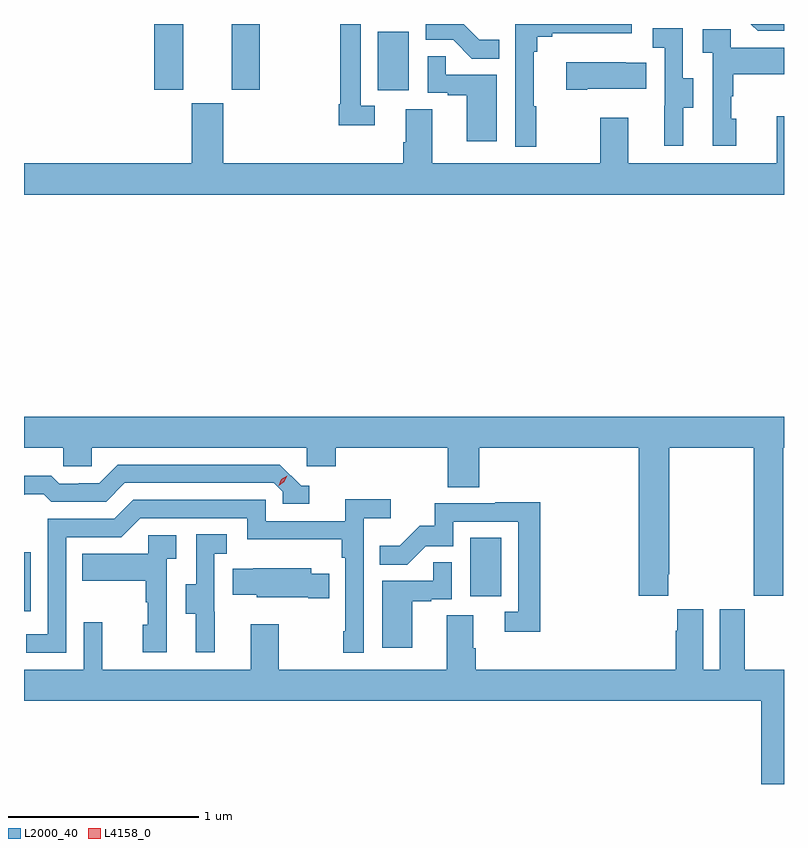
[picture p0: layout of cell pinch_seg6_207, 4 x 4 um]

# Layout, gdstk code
import gdstk
lib = gdstk.Library(unit=1e-6, precision=1e-09)
def R(c, l, rs):  # rectangles x0, y0, x1, y1
    for r in rs: c.add(gdstk.rectangle(r[:2], r[2:], *l))
def P(c, l, *ps):  # polygons
    for p in ps: c.add(gdstk.Polygon(p, *l))
L2000_40 = (2000, 40)
L4158_0 = (4158, 0)

pinch_seg6_207 = lib.new_cell('pinch_seg6_207')
R(pinch_seg6_207, L2000_40, [(1023.708,918.504,1023.744,918.814), (1026.056,918.582,1026.22,918.889), (1025.57,921.246,1025.734,921.553), (1024.394,921.249,1024.546,921.594), (1024.802,921.249,1024.95,921.594)])
P(pinch_seg6_207, L2000_40, [(1026.209,921.511),(1026.105,921.511),(1026.022,921.594),(1025.823,921.594),(1025.823,921.51),(1025.967,921.51),(1026.065,921.412),(1026.209,921.412)],
  [(1025.554,921.165),(1025.481,921.165),(1025.481,921.594),(1025.373,921.594),(1025.373,921.172),(1025.365,921.172),(1025.365,921.06),(1025.554,921.06)],
  [(1027.708,921.594),(1027.533,921.594),(1027.569,921.558),(1027.708,921.558)],
  [(1026.403,921.161),(1026.391,921.161),(1026.391,921.449),(1026.41,921.449),(1026.41,921.526),(1026.487,921.526),(1026.487,921.545),(1026.906,921.545),(1026.906,921.594),(1026.294,921.594),(1026.294,920.949),(1026.403,920.949)],
  [(1027.177,921.154),(1027.231,921.154),(1027.231,921.309),(1027.176,921.309),(1027.176,921.572),(1027.017,921.572),(1027.017,921.469),(1027.08,921.469),(1027.08,921.165),(1027.079,921.165),(1027.079,920.952),(1027.177,920.952)],
  [(1027.456,921.096),(1027.43,921.096),(1027.43,921.215),(1027.441,921.215),(1027.441,921.329),(1027.708,921.329),(1027.708,921.469),(1027.428,921.469),(1027.428,921.567),(1027.281,921.567),(1027.281,921.443),(1027.332,921.443),(1027.332,920.952),(1027.456,920.952)],
  [(1026.196,921.327),(1025.927,921.327),(1025.927,921.425),(1025.832,921.425),(1025.832,921.231),(1025.939,921.231),(1025.939,921.219),(1026.038,921.219),(1026.038,920.976),(1026.196,920.976)],
  [(1026.673,921.254),(1026.983,921.254),(1026.983,921.391),(1026.875,921.391),(1026.875,921.394),(1026.561,921.394),(1026.561,921.247),(1026.673,921.247)],
  [(1027.708,921.109),(1027.67,921.109),(1027.67,920.86),(1026.889,920.86),(1026.889,921.1),(1026.742,921.1),(1026.742,920.86),(1025.857,920.86),(1025.857,921.146),(1025.717,921.146),(1025.717,920.972),(1025.705,920.972),(1025.705,920.86),(1024.756,920.86),(1024.756,921.177),(1024.592,921.177),(1024.592,920.86),(1023.708,920.86),(1023.708,920.696),(1027.708,920.696)],
  [(1027.099,918.697),(1027.103,918.697),(1027.103,919.364),(1027.549,919.364),(1027.549,918.585),(1027.704,918.585),(1027.704,919.364),(1027.708,919.364),(1027.708,919.528),(1023.708,919.528),(1023.708,919.364),(1023.915,919.364),(1023.915,919.266),(1024.065,919.266),(1024.065,919.364),(1025.196,919.364),(1025.196,919.266),(1025.348,919.266),(1025.348,919.364),(1025.939,919.364),(1025.939,919.156),(1026.103,919.156),(1026.103,919.364),(1026.944,919.364),(1026.944,918.585),(1027.099,918.585)],
  [(1025.209,919.164),(1025.166,919.164),(1025.055,919.275),(1024.202,919.275),(1024.103,919.176),(1023.996,919.176),(1023.996,919.173),(1023.893,919.173),(1023.851,919.216),(1023.708,919.216),(1023.708,919.116),(1023.713,919.116),(1023.713,919.119),(1023.812,919.119),(1023.851,919.08),(1024.14,919.08),(1024.239,919.179),(1025.022,919.179),(1025.07,919.131),(1025.07,919.068),(1025.209,919.068)],
  [(1023.93,918.894),(1024.221,918.894),(1024.32,918.993),(1024.884,918.993),(1024.884,918.881),(1025.38,918.881),(1025.38,918.785),(1025.4,918.785),(1025.4,918.397),(1025.388,918.397),(1025.388,918.285),(1025.496,918.285),(1025.496,918.992),(1025.638,918.992),(1025.638,919.094),(1025.399,919.094),(1025.399,918.978),(1024.98,918.978),(1024.98,919.089),(1024.283,919.089),(1024.184,918.99),(1023.834,918.99),(1023.834,918.381),(1023.721,918.381),(1023.721,918.285),(1023.93,918.285)],
  [(1026.425,919.076),(1026.187,919.076),(1026.187,919.071),(1025.869,919.071),(1025.869,918.954),(1025.792,918.954),(1025.685,918.847),(1025.581,918.847),(1025.581,918.748),(1025.725,918.748),(1025.823,918.846),(1025.967,918.846),(1025.967,918.975),(1026.309,918.975),(1026.309,918.501),(1026.237,918.501),(1026.237,918.396),(1026.425,918.396)],
  [(1024.712,918.501),(1024.71,918.501),(1024.71,918.805),(1024.774,918.805),(1024.774,918.908),(1024.614,918.908),(1024.614,918.645),(1024.559,918.645),(1024.559,918.49),(1024.613,918.49),(1024.613,918.288),(1024.712,918.288)],
  [(1024.458,918.779),(1024.51,918.779),(1024.51,918.903),(1024.362,918.903),(1024.362,918.805),(1024.015,918.805),(1024.015,918.665),(1024.35,918.665),(1024.35,918.551),(1024.36,918.551),(1024.36,918.432),(1024.334,918.432),(1024.334,918.288),(1024.458,918.288)],
  [(1025.752,918.555),(1025.852,918.555),(1025.852,918.567),(1025.958,918.567),(1025.958,918.761),(1025.863,918.761),(1025.863,918.663),(1025.594,918.663),(1025.594,918.312),(1025.752,918.312)],
  [(1025.315,918.7),(1025.221,918.7),(1025.221,918.73),(1024.915,918.73),(1024.915,918.727),(1024.807,918.727),(1024.807,918.59),(1024.932,918.59),(1024.932,918.578),(1025.204,918.578),(1025.204,918.571),(1025.315,918.571)],
  [(1027.589,917.594),(1027.708,917.594),(1027.708,918.196),(1027.501,918.196),(1027.501,918.514),(1027.37,918.514),(1027.37,918.196),(1027.282,918.196),(1027.282,918.514),(1027.145,918.514),(1027.145,918.401),(1027.139,918.401),(1027.139,918.196),(1026.086,918.196),(1026.086,918.308),(1026.073,918.308),(1026.073,918.482),(1025.933,918.482),(1025.933,918.196),(1025.049,918.196),(1025.049,918.436),(1024.901,918.436),(1024.901,918.196),(1024.121,918.196),(1024.121,918.445),(1024.023,918.445),(1024.023,918.196),(1023.708,918.196),(1023.708,918.032),(1027.589,918.032)])
P(pinch_seg6_207, L4158_0, [(1025.048,919.164),(1025.048,919.164),(1025.063,919.197),(1025.093,919.217),(1025.094,919.217),(1025.094,919.216),(1025.078,919.184),(1025.048,919.164)])

lib.write_gds('pinch_seg6_207.gds')
